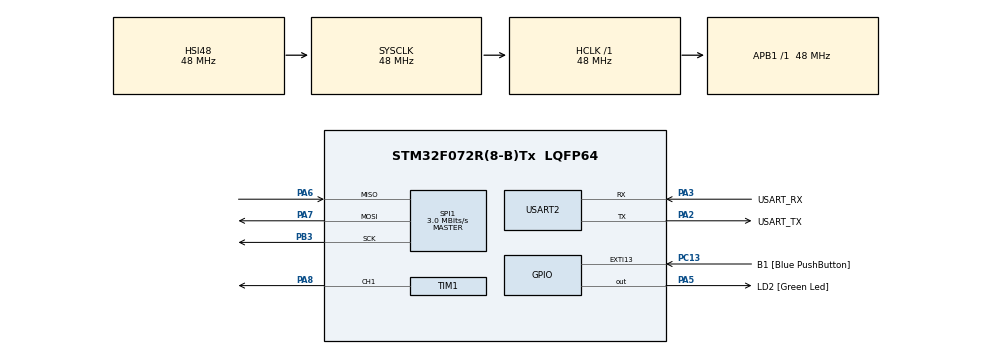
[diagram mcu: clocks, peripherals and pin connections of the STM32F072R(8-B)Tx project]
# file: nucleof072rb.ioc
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Mcu.Family=STM32F0
Mcu.Name=STM32F072R(8-B)Tx
Mcu.Package=LQFP64
PA13.GPIO_Label=TMS
PA13.Mode=Serial_Wire
PA13.Signal=SYS_SWDIO
PA14.GPIO_Label=TCK
PA14.Mode=Serial_Wire
PA14.Signal=SYS_SWCLK
PA2.GPIO_Label=USART_TX
PA2.GPIO_Mode=GPIO_MODE_AF_PP
PA2.GPIO_PuPd=GPIO_NOPULL
PA2.GPIO_Speed=GPIO_SPEED_FREQ_LOW
PA2.Mode=Asynchronous
PA2.Signal=USART2_TX
PA3.GPIO_Label=USART_RX
PA3.GPIO_Mode=GPIO_MODE_AF_PP
PA3.GPIO_PuPd=GPIO_NOPULL
PA3.GPIO_Speed=GPIO_SPEED_FREQ_LOW
PA3.Mode=Asynchronous
PA3.Signal=USART2_RX
PA5.GPIO_Label=LD2 [Green Led]
PA5.GPIO_Mode=GPIO_MODE_OUTPUT_PP
PA5.GPIO_PuPd=GPIO_NOPULL
PA5.GPIO_Speed=GPIO_SPEED_FREQ_LOW
PA5.Signal=GPIO_Output
PA6.Mode=Full_Duplex_Master
PA6.Signal=SPI1_MISO
PA7.Mode=Full_Duplex_Master
PA7.Signal=SPI1_MOSI
PA8.Signal=S_TIM1_CH1
PB13.Signal=TIM1_CH1N
PB3.Mode=Full_Duplex_Master
PB3.Signal=SPI1_SCK
PC13.GPIO_Label=B1 [Blue PushButton]
PC13.GPIO_ModeDefaultEXTI=GPIO_MODE_IT_FALLING
PC13.Signal=GPXTI13
PC14-OSC32_IN.Mode=LSE-External-Oscillator
PC14-OSC32_IN.Signal=RCC_OSC32_IN
PC15-OSC32_OUT.Mode=LSE-External-Oscillator
PC15-OSC32_OUT.Signal=RCC_OSC32_OUT
PF0-OSC_IN.Mode=HSE-External-Clock-Source
PF0-OSC_IN.Signal=RCC_OSC_IN
PF1-OSC_OUT.Signal=RCC_OSC_OUT
ProjectManager.HeapSize=0x200
ProjectManager.StackSize=0x400
ProjectManager.TargetToolchain=STM32CubeIDE
RCC.AHBFreq_Value=48000000
RCC.APB1Freq_Value=48000000
RCC.APB1TimFreq_Value=48000000
RCC.FLatency-AdvancedSettings=FLASH_LATENCY_1
RCC.HCLKFreq_Value=48000000
RCC.PLLDivider=RCC_PREDIV_DIV2
RCC.PLLMUL=RCC_PLL_MUL12
RCC.PREFETCH_ENABLE-AdvancedSettings=1
RCC.SYSCLKFreq_VALUE=48000000
RCC.SYSCLKSource=RCC_SYSCLKSOURCE_HSI48
SH.S_TIM1_CH1.0=TIM1_CH1,PWM Generation1 CH1
SPI1.BaudRatePrescaler=SPI_BAUDRATEPRESCALER_16
SPI1.CalculateBaudRate=3.0 MBits/s
SPI1.Direction=SPI_DIRECTION_2LINES
SPI1.Mode=SPI_MODE_MASTER
SPI1.VirtualType=VM_MASTER
TIM1.Channel-PWM\ Generation1\ CH1=TIM_CHANNEL_1
TIM1.Period=63999
TIM1.Prescaler=14
USART2.VirtualMode=VM_ASYNC
USART2.VirtualMode-Asynchronous=VM_ASYNC
VP_TIM1_VS_ClockSourceINT.Mode=Internal
board=NUCLEO-F072RB

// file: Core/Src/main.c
/* USER CODE BEGIN Header */
/**
  ******************************************************************************
  * @file           : main.c
  * @brief          : Main program body
  ******************************************************************************
  * @attention
  *
  * <h2><center>&copy; Copyright (c) 2021 STMicroelectronics.
  * All rights reserved.</center></h2>
  *
  * This software component is licensed by ST under BSD 3-Clause license,
  * the "License"; You may not use this file except in compliance with the
  * License. You may obtain a copy of the License at:
  *                        opensource.org/licenses/BSD-3-Clause
  *
  ******************************************************************************
  */
/* USER CODE END Header */
#include "main.h"
#include "spi.h"
#include "tim.h"
#include "usart.h"
#include "gpio.h"

void SystemClock_Config(void);

int main(void)
{
  /* USER CODE BEGIN 1 */
	const uint16_t MAX_READING =1023;//max ADC value
	const uint16_t PWM_MIN = 3276;
	uint16_t reading = 0;
	uint16_t angle_pwm;//angle for servo motor
	uint8_t transmit_buffer[3]={1,1,0};//the potentiometer is single mode (1)
	uint8_t *p_tx_data = transmit_buffer;
	uint8_t recieve_buffer[3];//data buffer to store recieved values
	uint8_t *p_rx_data = recieve_buffer;
	uint16_t mask_2bit = 0x03;//masking variable for first part of reading
  /* USER CODE END 1 */

  /* MCU Configuration--------------------------------------------------------*/

  /* Reset of all peripherals, Initializes the Flash interface and the Systick. */
  HAL_Init();

  /* Configure the system clock */
  SystemClock_Config();

  /* Initialize all configured peripherals */
  MX_GPIO_Init();
  MX_USART2_UART_Init();
  MX_SPI1_Init();
  MX_TIM1_Init();
  /* USER CODE BEGIN 2 */
  HAL_TIM_PWM_Start(&htim1, TIM_CHANNEL_1);
  /* USER CODE END 2 */

  /* Infinite loop */
  /* USER CODE BEGIN WHILE */
  while (1)
  {
	  HAL_GPIO_WritePin(GPIOB, GPIO_PIN_8,GPIO_PIN_RESET);//set ADC pins to low
	  HAL_SPI_TransmitReceive(&hspi,p_tx_data,p_rx_data,3, HAL_MAX_DELAY);
	  HAL_GPIO_WritePin(GPIOB, GPIO_PIN_8,GPIO_PIN_SET);

	  reading=((p_rx_data[1] & mask_2bit)<<8)+p_rx_data[2];//gets rid of first 10 bits, shifts up 8 digits, adds second part of reading
	  angle_pwm = (reading*PWM_MIN/MAX_READING)+PWM_MIN;
	  __HAL_TIM_SET_COMPARE(&htim1, TIM_CHANNEL_1, angle_pwm);

	  HAL_Delay(10);
    /* USER CODE END WHILE */

  }
}

void SystemClock_Config(void)
{
  RCC_OscInitTypeDef RCC_OscInitStruct = {0};
  RCC_ClkInitTypeDef RCC_ClkInitStruct = {0};
  RCC_PeriphCLKInitTypeDef PeriphClkInit = {0};

  /** Initializes the RCC Oscillators according to the specified parameters
  * in the RCC_OscInitTypeDef structure.
  */
  RCC_OscInitStruct.OscillatorType = RCC_OSCILLATORTYPE_HSI48;
  RCC_OscInitStruct.HSI48State = RCC_HSI48_ON;
  RCC_OscInitStruct.PLL.PLLState = RCC_PLL_NONE;
  if (HAL_RCC_OscConfig(&RCC_OscInitStruct) != HAL_OK)
  {
    Error_Handler();
  }
  /** Initializes the CPU, AHB and APB buses clocks
  */
  RCC_ClkInitStruct.ClockType = RCC_CLOCKTYPE_HCLK|RCC_CLOCKTYPE_SYSCLK
                              |RCC_CLOCKTYPE_PCLK1;
  RCC_ClkInitStruct.SYSCLKSource = RCC_SYSCLKSOURCE_HSI48;
  RCC_ClkInitStruct.AHBCLKDivider = RCC_SYSCLK_DIV1;
  RCC_ClkInitStruct.APB1CLKDivider = RCC_HCLK_DIV1;

  if (HAL_RCC_ClockConfig(&RCC_ClkInitStruct, FLASH_LATENCY_1) != HAL_OK)
  {
    Error_Handler();
  }
  PeriphClkInit.PeriphClockSelection = RCC_PERIPHCLK_USART2;
  PeriphClkInit.Usart2ClockSelection = RCC_USART2CLKSOURCE_PCLK1;
  if (HAL_RCCEx_PeriphCLKConfig(&PeriphClkInit) != HAL_OK)
  {
    Error_Handler();
  }
}

void Error_Handler(void)
{
  __disable_irq();
  while (1)
  {
  }
}

/************************ (C) COPYRIGHT STMicroelectronics *****END OF FILE****/
